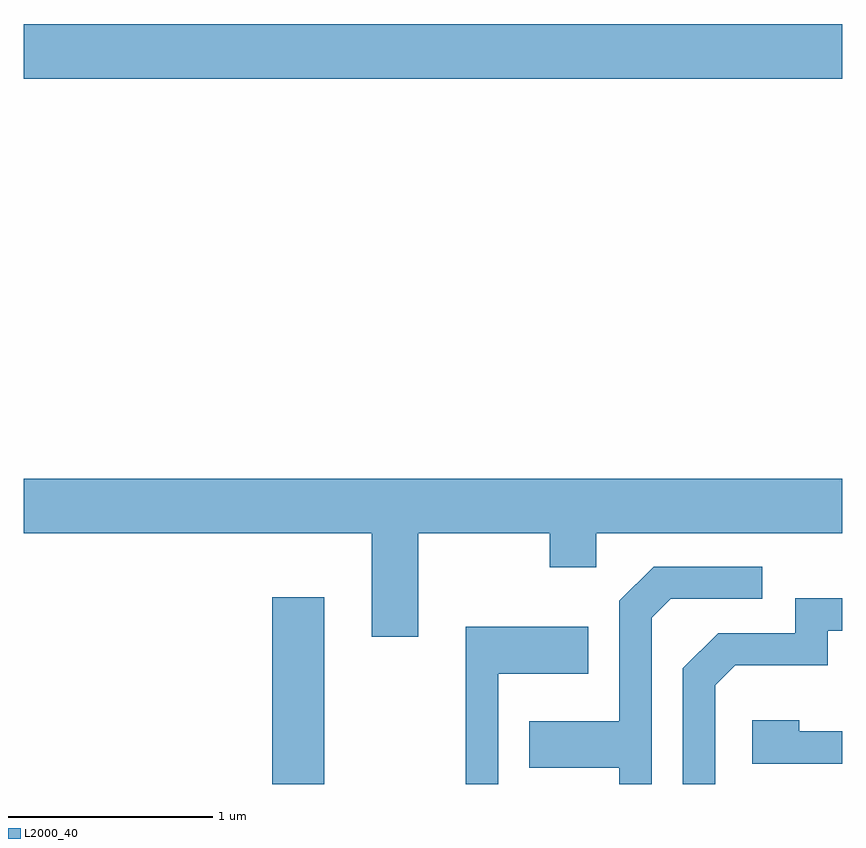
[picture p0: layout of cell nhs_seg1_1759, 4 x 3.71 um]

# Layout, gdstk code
import gdstk
lib = gdstk.Library(unit=1e-6, precision=1e-09)
def R(c, l, rs):  # rectangles x0, y0, x1, y1
    for r in rs: c.add(gdstk.rectangle(r[:2], r[2:], *l))
def P(c, l, *ps):  # polygons
    for p in ps: c.add(gdstk.Polygon(p, *l))
L2000_40 = (2000, 40)

nhs_seg1_1759 = lib.new_cell('nhs_seg1_1759')
R(nhs_seg1_1759, L2000_40, [(240.826,871.712,241.079,872.624), (239.611,875.156,243.611,875.424)])
P(nhs_seg1_1759, L2000_40, [(241.539,872.936),(242.181,872.936),(242.181,872.771),(242.409,872.771),(242.409,872.936),(243.611,872.936),(243.611,873.204),(239.611,873.204),(239.611,872.936),(241.311,872.936),(241.311,872.431),(241.539,872.431)],
  [(242.679,872.524),(242.772,872.616),(243.218,872.616),(243.218,872.774),(242.689,872.774),(242.521,872.607),(242.521,872.019),(242.081,872.019),(242.081,871.791),(242.521,871.791),(242.521,871.712),(242.679,871.712)],
  [(242.989,872.194),(243.087,872.291),(243.539,872.291),(243.539,872.461),(243.611,872.461),(243.611,872.619),(243.381,872.619),(243.381,872.449),(243.004,872.449),(242.831,872.277),(242.831,871.712),(242.989,871.712)],
  [(241.929,872.251),(242.369,872.251),(242.369,872.479),(241.771,872.479),(241.771,871.712),(241.929,871.712)],
  [(243.611,871.969),(243.399,871.969),(243.399,872.024),(243.171,872.024),(243.171,871.811),(243.611,871.811)])

lib.write_gds('nhs_seg1_1759.gds')
